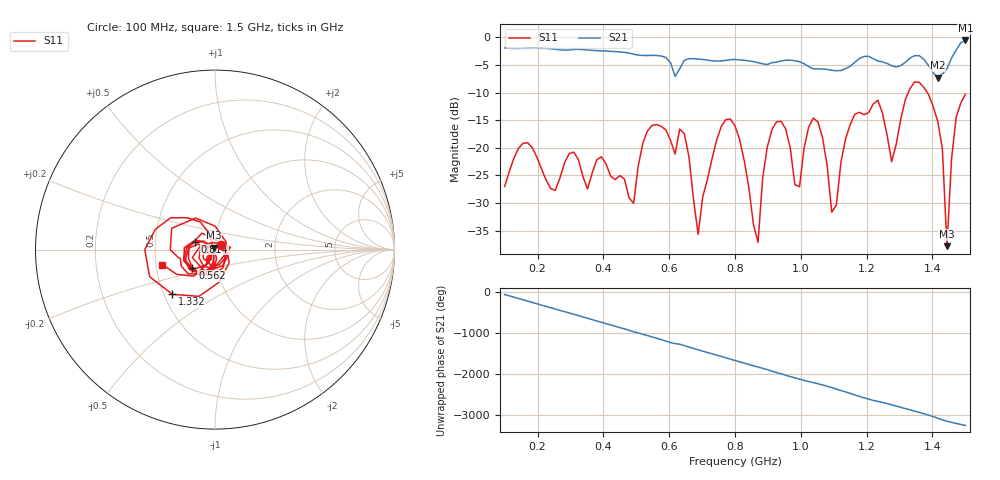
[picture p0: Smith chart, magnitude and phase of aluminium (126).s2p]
! NanoVNA-App
! Date: 2025-09-25 14:56:15
! Start: 100MHz Stop: 1,5GHz Points: 101
! S-Parameter data: F S11 S21 S12 S22
# Hz S RI R 50
!  Frequency  S11_Real  S11_Imag  S21_Real  S21_Imag  S12_Real  S12_Imag  S22_Real  S22_Imag
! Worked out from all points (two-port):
!   101 points, 100 MHz to 1.5 GHz, reference 50 ohm
!   highest |S21| = -0.58 dB at 1.5 GHz (marker M1); lowest = -7.3 dB at 1.416 GHz (marker M2)
!   |S21| within 3 dB of the highest: start of sweep to 585.5 MHz; 1.46 GHz to end of sweep (the widest 2 of 4)
!   lowest |S11| = -37.8 dB at 1.444 GHz (marker M3), VSWR 1.03, Z = 49.2 + j1.03 ohm
!   |S11| at or under -10 dB: start of sweep to 1.327 GHz; 1.384 GHz to end of sweep
!   S12 and S22 are empty: the file has one direction only
!   S11 on the Smith chart (normalised r, x): 100 MHz: 1.07, +0.06; 562 MHz: 0.76, -0.16; 814 MHz: 0.80, +0.07; 1.332 GHz: 0.55, -0.31; 1.5 GHz: 0.54, -0.10
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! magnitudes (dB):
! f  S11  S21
! 100 MHz  -27.0  -1.9
! 338 MHz  -25.2  -2.2
! 492 MHz  -30.1  -3.1
! 562 MHz  -15.8  -3.3
! 576 MHz  -16.2  -3.4
! 646 MHz  -17.5  -4.2
! 688 MHz  -35.7  -4.0
! 800 MHz  -16.0  -4.0
! 814 MHz  -18.5  -4.1
! 870 MHz  -37.1  -4.6
! 912 MHz  -16.8  -4.6
! 996 MHz  -27.0  -4.4
! 1.038 GHz  -14.6  -5.7
! 1.094 GHz  -31.7  -6.0
! 1.164 GHz  -13.9  -4.5
! 1.234 GHz  -11.4  -4.3
! 1.276 GHz  -22.5  -5.1
! 1.332 GHz  -9.3  -3.8
! 1.416 GHz  -15.2  -7.3
! 1.444 GHz  -37.8  -5.7
! 1.472 GHz  -14.5  -2.3
! 1.5 GHz  -10.3  -0.6
